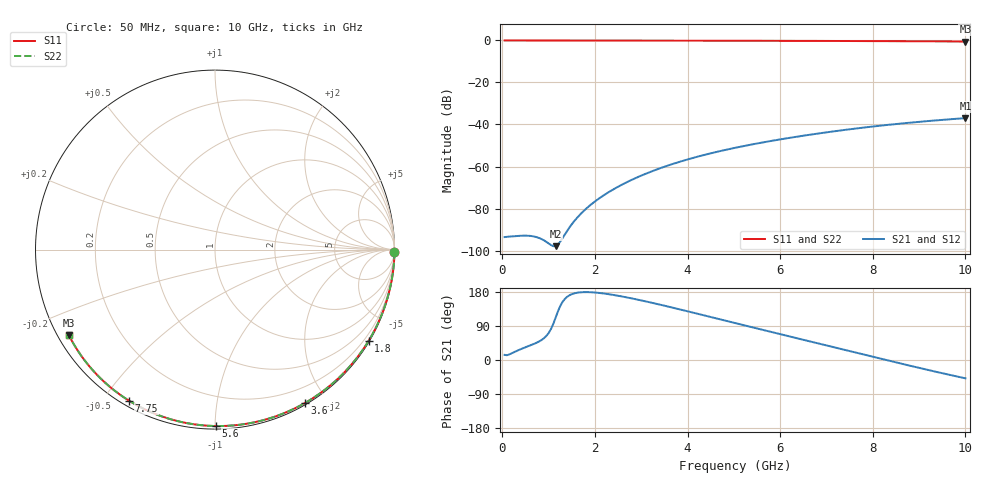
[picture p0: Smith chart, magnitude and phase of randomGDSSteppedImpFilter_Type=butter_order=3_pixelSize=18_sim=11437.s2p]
! freq	dB(S11)	phase(S11)	dB(S12)	phase(S12)
!  dB(S21)	phase(S21)	dB(S22)	phase(S22)
!S-par simulation data
#  GHz  S  DB  R 50
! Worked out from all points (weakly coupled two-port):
!   200 points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, 50 MHz to 10 GHz, reference 50 ohm
!   highest |S21| = -36.97 dB at 10 GHz (marker M1); lowest = -97.9 dB at 1.15 GHz (marker M2)
!   lowest |S11| = -0.5 dB at 10 GHz (marker M3), VSWR 34.41, Z = 1.56 - j13.5 ohm
!   |S11| at or under -10 dB: nowhere
!   |S22| runs from -0.5 to 0.0 dB; largest |S21 - S12| = 0
!   S11 on the Smith chart (normalised r, x): 50 MHz: open; 1.8 GHz: 0.03, -3.65; 3.6 GHz: 0.02, -1.74; 5.6 GHz: 0.02, -1.00; 7.75 GHz: 0.02, -0.58; 10 GHz: 0.03, -0.27
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0.05  -0.00 -0.9  -93.59 13.5  -93.59 13.5  -0.00 -0.9
0.6  -0.01 -10.3  -93.03 38.5  -93.03 38.5  -0.01 -10.4
1.15  -0.02 -19.7  -97.92 111.1  -97.92 111.1  -0.02 -19.7
1.75  -0.04 -29.8  -81.33 179.1  -81.33 179.1  -0.04 -29.8
1.8  -0.04 -30.7  -80.30 179.2  -80.30 179.2  -0.04 -30.7
1.85  -0.04 -31.5  -79.32 179.1  -79.32 179.1  -0.04 -31.5
2  -0.04 -34.0  -76.65 178.1  -76.65 178.1  -0.04 -34.0
2.15  -0.05 -36.5  -74.29 176.2  -74.29 176.2  -0.05 -36.5
2.5  -0.05 -42.2  -69.62 169.6  -69.62 169.6  -0.05 -42.2
2.9  -0.06 -48.7  -65.29 159.9  -65.29 159.9  -0.06 -48.7
3.4  -0.08 -56.6  -60.89 146.2  -60.89 146.2  -0.08 -56.6
3.6  -0.08 -59.8  -59.36 140.4  -59.36 140.4  -0.08 -59.8
3.9  -0.09 -64.4  -57.29 131.6  -57.29 131.6  -0.09 -64.4
4.3  -0.10 -70.6  -54.84 119.5  -54.84 119.5  -0.10 -70.6
5.05  -0.13 -81.8  -50.99 96.8  -50.99 96.8  -0.13 -81.8
5.6  -0.15 -89.8  -48.63 80.2  -48.63 80.2  -0.15 -89.8
6.15  -0.17 -97.6  -46.55 63.8  -46.55 63.8  -0.17 -97.6
6.7  -0.21 -105.3  -44.68 47.4  -44.68 47.4  -0.21 -105.3
7.75  -0.28 -119.6  -41.61 16.0  -41.61 16.0  -0.28 -119.6
8.35  -0.33 -127.6  -40.12 -1.8  -40.12 -1.8  -0.33 -127.7
9.2  -0.41 -139.0  -38.35 -26.5  -38.35 -26.5  -0.41 -139.0
10  -0.50 -149.7  -36.97 -48.3  -36.97 -48.3  -0.51 -149.8
